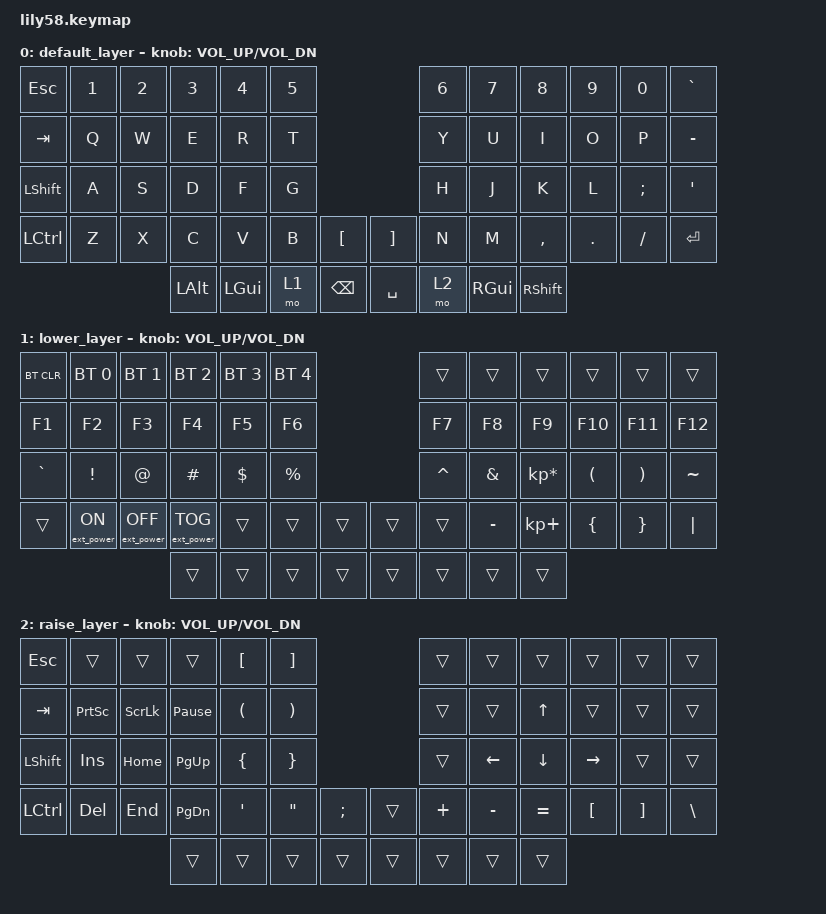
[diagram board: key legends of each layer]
/*
 * Copyright (c) 2020 The ZMK Contributors
 *
 * SPDX-License-Identifier: MIT
 */

#include <behaviors.dtsi>
#include <dt-bindings/zmk/bt.h>
#include <dt-bindings/zmk/ext_power.h>
#include <dt-bindings/zmk/keys.h>

/ {
    keymap {
        compatible = "zmk,keymap";

        default_layer {
            // ------------------------------------------------------------------------------------------------------------
            // |  ESC  |  1  |  2  |  3   |  4   |  5   |                   |  6   |  7    |  8    |  9   |   0   |   `   |
            // |  TAB  |  Q  |  W  |  E   |  R   |  T   |                   |  Y   |  U    |  I    |  O   |   P   |   -   |
            // |  CTRL |  A  |  S  |  D   |  F   |  G   |                   |  H   |  J    |  K    |  L   |   ;   |   '   |
            // | SHIFT |  Z  |  X  |  C   |  V   |  B   |   "["  |  |  "]"  |  N   |  M    |  ,    |  .   |   /   | SHIFT |
            //                     | ALT  | GUI  | LOWER|  SPACE |  | ENTER | RAISE| BSPC  | GUI   |

            bindings = <
&kp ESC    &kp N1  &kp N2  &kp N3    &kp N4    &kp N5                            &kp N6  &kp N7    &kp N8     &kp N9   &kp N0    &kp GRAVE
&kp TAB    &kp Q   &kp W   &kp E     &kp R     &kp T                             &kp Y   &kp U     &kp I      &kp O    &kp P     &kp MINUS
&kp LSHFT  &kp A   &kp S   &kp D     &kp F     &kp G                             &kp H   &kp J     &kp K      &kp L    &kp SEMI  &kp SQT
&kp LCTRL  &kp Z   &kp X   &kp C     &kp V     &kp B   &kp LBKT       &kp RBKT   &kp N   &kp M     &kp COMMA  &kp DOT  &kp FSLH  &kp RET
                           &kp LALT  &kp LGUI  &mo 1   &kp BACKSPACE  &kp SPACE  &mo 2   &kp RGUI  &kp RSHFT
            >;

            sensor-bindings = <&inc_dec_kp C_VOL_UP C_VOL_DN>;
        };

        lower_layer {
            // ------------------------------------------------------------------------------------------------------------
            // | BTCLR | BT1 | BT2 |  BT3 |  BT4 |  BT5 |                   |      |       |       |      |       |       |
            // |  F1   |  F2 |  F3 |  F4  |  F5  |  F6  |                   |  F7  |  F8   |  F9   |  F10 |  F11  |  F12  |
            // |   `   |  !  |  @  |  #   |  $   |  %   |                   |  ^   |  &    |  *    |  (   |   )   |   ~   |
            // |       |     |     |      |      |      |        |  |       |      |  _    |  +    |  {   |   }   |  "|"  |
            //                     |      |      |      |        |  |       |      |       |       |

            bindings = <
&bt BT_CLR  &bt BT_SEL 0      &bt BT_SEL 1       &bt BT_SEL 2       &bt BT_SEL 3  &bt BT_SEL 4                  &trans     &trans     &trans           &trans    &trans    &trans
&kp F1      &kp F2            &kp F3             &kp F4             &kp F5        &kp F6                        &kp F7     &kp F8     &kp F9           &kp F10   &kp F11   &kp F12
&kp GRAVE   &kp EXCL          &kp AT             &kp HASH           &kp DOLLAR    &kp PRCNT                     &kp CARET  &kp AMPS   &kp KP_MULTIPLY  &kp LPAR  &kp RPAR  &kp TILDE
&trans      &ext_power EP_ON  &ext_power EP_OFF  &ext_power EP_TOG  &trans        &trans        &trans  &trans  &trans     &kp MINUS  &kp KP_PLUS      &kp LBRC  &kp RBRC  &kp PIPE
                                                 &trans             &trans        &trans        &trans  &trans  &trans     &trans     &trans
            >;

            sensor-bindings = <&inc_dec_kp C_VOL_UP C_VOL_DN>;
        };

        raise_layer {
            // ------------------------------------------------------------------------------------------------------------
            // |       |     |     |      |      |      |                   |      |       |       |      |       |       |
            // |   `   |  1  |  2  |  3   |  4   |  5   |                   |  6   |   7   |   8   |  9   |   0   |       |
            // |   F1  |  F2 |  F3 |  F4  |  F5  |  F6  |                   |      |   <-  |   v   |  ^   |  ->   |       |
            // |   F7  |  F8 |  F9 |  F10 |  F11 |  F12 |        |  |       |  +   |   -   |   =   |  [   |   ]   |   \   |
            //                     |      |      |      |        |  |       |      |       |       |

            bindings = <
&kp ESC           &trans           &trans          &trans           &kp LBKT  &kp RBKT                                  &trans    &trans     &trans        &trans     &trans    &trans
&kp TAB           &kp PRINTSCREEN  &kp SCROLLLOCK  &kp PAUSE_BREAK  &kp LPAR  &kp RPAR                                  &trans    &trans     &kp UP_ARROW  &trans     &trans    &trans
&kp LEFT_SHIFT    &kp INSERT       &kp HOME        &kp PAGE_UP      &kp LBRC  &kp RBRC                                  &trans    &kp LEFT   &kp DOWN      &kp RIGHT  &trans    &trans
&kp LEFT_CONTROL  &kp DELETE       &kp END         &kp PAGE_DOWN    &kp SQT   &kp DOUBLE_QUOTES  &kp SEMICOLON  &trans  &kp PLUS  &kp MINUS  &kp EQUAL     &kp LBKT   &kp RBKT  &kp BSLH
                                                   &trans           &trans    &trans             &trans         &trans  &trans    &trans     &trans
            >;

            sensor-bindings = <&inc_dec_kp C_VOL_UP C_VOL_DN>;
        };
    };
};
